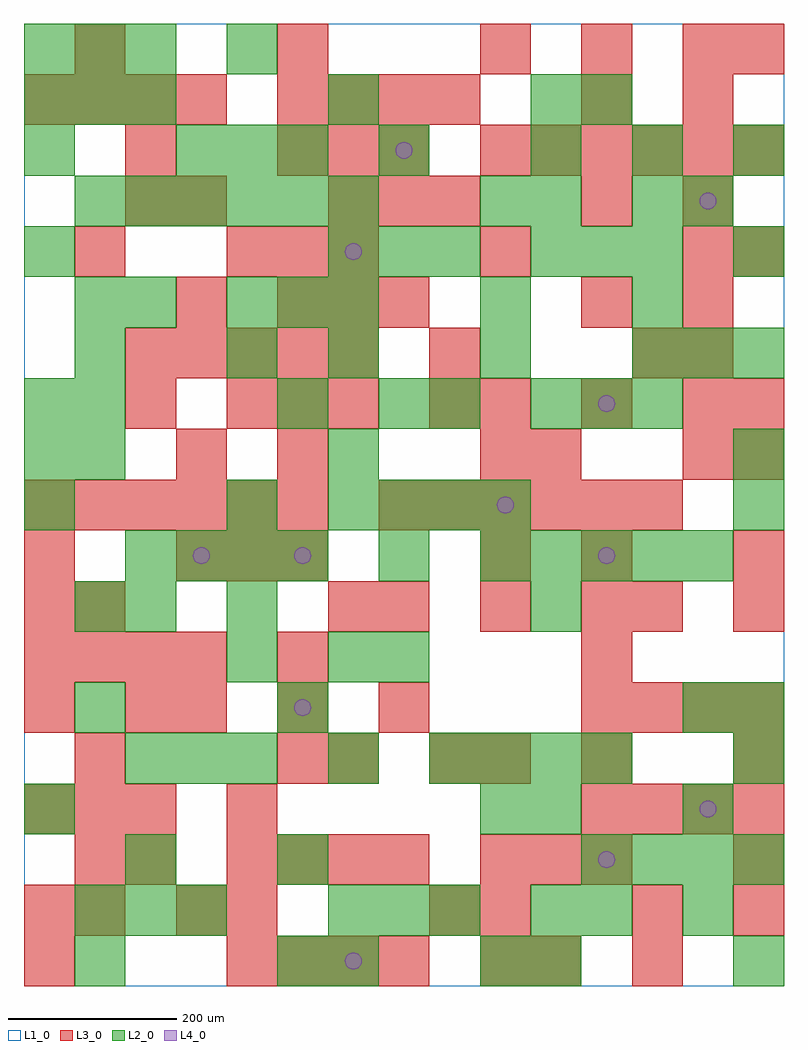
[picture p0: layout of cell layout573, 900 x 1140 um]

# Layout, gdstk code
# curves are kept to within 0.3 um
import gdstk
lib = gdstk.Library(unit=1e-6, precision=1e-09)
def R(c, l, rs):  # rectangles x0, y0, x1, y1
    for r in rs: c.add(gdstk.rectangle(r[:2], r[2:], *l))
def A(c, l, x, y, w, h, nx, ny, dx, dy):  # array of equal rectangles
    R(c, l, [(x+i*dx, y+j*dy, x+i*dx+w, y+j*dy+h) for i in range(nx) for j in range(ny)])
def P(c, l, *ps):  # polygons
    for p in ps: c.add(gdstk.Polygon(p, *l))
L1_0 = (1, 0)
L2_0 = (2, 0)
L3_0 = (3, 0)
L4_0 = (4, 0)

layout573 = lib.new_cell('layout573')
R(layout573, L1_0, [(0,0,900,1140)])
A(layout573, L2_0, 60, 60, 60, 60, 3, 1, 60, 0)
A(layout573, L2_0, 360, 60, 60, 60, 3, 2, 60, 780)
A(layout573, L2_0, 780, 60, 60, 60, 1, 3, 0, 120)
A(layout573, L2_0, 660, 120, 60, 60, 4, 1, 60, 0)
A(layout573, L2_0, 120, 240, 60, 60, 3, 1, 60, 0)
A(layout573, L2_0, 480, 240, 60, 60, 4, 1, 60, 0)
A(layout573, L2_0, 120, 480, 60, 60, 4, 1, 60, 0)
A(layout573, L2_0, 540, 480, 60, 60, 5, 1, 60, 0)
A(layout573, L2_0, 0, 540, 60, 60, 1, 3, 0, 60)
A(layout573, L2_0, 360, 540, 60, 60, 4, 1, 60, 0)
A(layout573, L2_0, 60, 600, 60, 60, 1, 4, 0, 60)
A(layout573, L2_0, 840, 600, 60, 60, 1, 3, 0, 120)
A(layout573, L2_0, 600, 660, 60, 60, 3, 2, 60, 180)
A(layout573, L2_0, 360, 720, 60, 60, 3, 1, 180, 0)
A(layout573, L2_0, 240, 780, 60, 60, 3, 1, 60, 0)
A(layout573, L2_0, 60, 900, 60, 60, 6, 1, 60, 0)
A(layout573, L2_0, 180, 960, 60, 60, 3, 1, 60, 0)
A(layout573, L2_0, 600, 960, 60, 60, 3, 1, 120, 0)
A(layout573, L2_0, 0, 1020, 60, 60, 3, 2, 60, 60)
R(layout573, L2_0, [(60,0,120,60), (300,0,360,60), (360,0,420,60), (540,0,600,60), (600,0,660,60), (840,0,900,60), (600,60,660,120), (660,60,720,120), (120,120,180,180), (300,120,360,180), (0,180,60,240), (540,180,600,240), (600,180,660,240), (360,240,420,300), (840,240,900,300), (60,300,120,360), (300,300,360,360), (840,300,900,360), (240,360,300,420), (360,360,420,420), (420,360,480,420), (60,420,120,480), (120,420,180,480), (240,420,300,480), (600,420,660,480), (420,480,480,540), (240,540,300,600), (840,540,900,600), (360,600,420,660), (300,660,360,720), (420,660,480,720), (480,660,540,720), (240,720,300,780), (780,720,840,780), (120,780,180,840), (540,780,600,840), (720,780,780,840), (0,840,60,900), (540,900,600,960), (600,900,660,960), (720,900,780,960), (780,900,840,960), (0,960,60,1020), (420,960,480,1020), (360,1020,420,1080), (600,1020,660,1080), (660,1020,720,1080), (240,1080,300,1140)])
A(layout573, L3_0, 240, 0, 60, 60, 4, 2, 60, 120)
A(layout573, L3_0, 540, 120, 60, 60, 3, 1, 60, 0)
A(layout573, L3_0, 0, 180, 60, 60, 3, 1, 60, 0)
A(layout573, L3_0, 660, 180, 60, 60, 4, 2, 60, 120)
A(layout573, L3_0, 660, 240, 60, 60, 1, 3, 0, 120)
A(layout573, L3_0, 180, 300, 60, 60, 3, 1, 120, 0)
A(layout573, L3_0, 0, 360, 60, 60, 4, 2, 60, 660)
A(layout573, L3_0, 420, 420, 60, 60, 3, 1, 120, 0)
A(layout573, L3_0, 180, 480, 60, 60, 3, 1, 60, 0)
A(layout573, L3_0, 0, 540, 60, 60, 6, 1, 60, 0)
A(layout573, L3_0, 420, 540, 60, 60, 6, 1, 60, 0)
A(layout573, L3_0, 240, 660, 60, 60, 3, 2, 60, 180)
A(layout573, L3_0, 540, 660, 60, 60, 3, 1, 120, 0)
A(layout573, L3_0, 120, 720, 60, 60, 5, 1, 60, 0)
A(layout573, L3_0, 780, 720, 60, 60, 1, 4, 0, 60)
A(layout573, L3_0, 300, 780, 60, 60, 3, 2, 60, 180)
A(layout573, L3_0, 660, 780, 60, 60, 1, 3, 0, 120)
A(layout573, L3_0, 360, 900, 60, 60, 3, 1, 60, 0)
A(layout573, L3_0, 540, 960, 60, 60, 6, 1, 60, 0)
A(layout573, L3_0, 300, 1020, 60, 60, 4, 1, 60, 0)
A(layout573, L3_0, 60, 1080, 60, 60, 3, 1, 240, 0)
R(layout573, L3_0, [(0,0,60,60), (540,0,600,60), (600,0,660,60), (720,0,780,60), (0,60,60,120), (60,60,120,120), (180,60,240,120), (240,60,300,120), (480,60,540,120), (540,60,600,120), (720,60,780,120), (840,60,900,120), (60,120,120,180), (120,120,180,180), (840,120,900,180), (240,180,300,240), (60,240,120,300), (300,240,360,300), (360,240,420,300), (480,240,540,300), (540,240,600,300), (840,240,900,300), (0,300,60,360), (120,300,180,360), (300,360,360,420), (0,420,60,480), (60,420,120,480), (360,420,420,480), (720,420,780,480), (840,420,900,480), (0,480,60,540), (540,480,600,540), (840,480,900,540), (180,600,240,660), (300,600,360,660), (540,600,600,660), (600,600,660,660), (780,600,840,660), (840,600,900,660), (120,660,180,720), (480,660,540,720), (840,660,900,720), (480,720,540,780), (720,720,780,780), (180,780,240,840), (60,840,120,900), (540,840,600,900), (840,840,900,900), (120,900,180,960), (180,900,240,960), (120,960,180,1020), (780,1020,840,1080), (660,1080,720,1140), (780,1080,840,1140), (840,1080,900,1140)])
P(layout573, L4_0, [(220,510),(219.239,513.827),(217.071,517.071),(213.827,519.239),(210,520),(206.173,519.239),(202.929,517.071),(200.761,513.827),(200,510),(200.761,506.173),(202.929,502.929),(206.173,500.761),(210,500),(213.827,500.761),(217.071,502.929),(219.239,506.173)],
  [(340,330),(339.239,333.827),(337.071,337.071),(333.827,339.239),(330,340),(326.173,339.239),(322.929,337.071),(320.761,333.827),(320,330),(320.761,326.173),(322.929,322.929),(326.173,320.761),(330,320),(333.827,320.761),(337.071,322.929),(339.239,326.173)],
  [(340,510),(339.239,513.827),(337.071,517.071),(333.827,519.239),(330,520),(326.173,519.239),(322.929,517.071),(320.761,513.827),(320,510),(320.761,506.173),(322.929,502.929),(326.173,500.761),(330,500),(333.827,500.761),(337.071,502.929),(339.239,506.173)],
  [(400,30),(399.239,33.827),(397.071,37.071),(393.827,39.239),(390,40),(386.173,39.239),(382.929,37.071),(380.761,33.827),(380,30),(380.761,26.173),(382.929,22.929),(386.173,20.761),(390,20),(393.827,20.761),(397.071,22.929),(399.239,26.173)],
  [(400,870),(399.239,873.827),(397.071,877.071),(393.827,879.239),(390,880),(386.173,879.239),(382.929,877.071),(380.761,873.827),(380,870),(380.761,866.173),(382.929,862.929),(386.173,860.761),(390,860),(393.827,860.761),(397.071,862.929),(399.239,866.173)],
  [(460,990),(459.239,993.827),(457.071,997.071),(453.827,999.239),(450,1000),(446.173,999.239),(442.929,997.071),(440.761,993.827),(440,990),(440.761,986.173),(442.929,982.929),(446.173,980.761),(450,980),(453.827,980.761),(457.071,982.929),(459.239,986.173)],
  [(580,570),(579.239,573.827),(577.071,577.071),(573.827,579.239),(570,580),(566.173,579.239),(562.929,577.071),(560.761,573.827),(560,570),(560.761,566.173),(562.929,562.929),(566.173,560.761),(570,560),(573.827,560.761),(577.071,562.929),(579.239,566.173)],
  [(700,150),(699.239,153.827),(697.071,157.071),(693.827,159.239),(690,160),(686.173,159.239),(682.929,157.071),(680.761,153.827),(680,150),(680.761,146.173),(682.929,142.929),(686.173,140.761),(690,140),(693.827,140.761),(697.071,142.929),(699.239,146.173)],
  [(700,510),(699.239,513.827),(697.071,517.071),(693.827,519.239),(690,520),(686.173,519.239),(682.929,517.071),(680.761,513.827),(680,510),(680.761,506.173),(682.929,502.929),(686.173,500.761),(690,500),(693.827,500.761),(697.071,502.929),(699.239,506.173)],
  [(700,690),(699.239,693.827),(697.071,697.071),(693.827,699.239),(690,700),(686.173,699.239),(682.929,697.071),(680.761,693.827),(680,690),(680.761,686.173),(682.929,682.929),(686.173,680.761),(690,680),(693.827,680.761),(697.071,682.929),(699.239,686.173)],
  [(820,210),(819.239,213.827),(817.071,217.071),(813.827,219.239),(810,220),(806.173,219.239),(802.929,217.071),(800.761,213.827),(800,210),(800.761,206.173),(802.929,202.929),(806.173,200.761),(810,200),(813.827,200.761),(817.071,202.929),(819.239,206.173)],
  [(820,930),(819.239,933.827),(817.071,937.071),(813.827,939.239),(810,940),(806.173,939.239),(802.929,937.071),(800.761,933.827),(800,930),(800.761,926.173),(802.929,922.929),(806.173,920.761),(810,920),(813.827,920.761),(817.071,922.929),(819.239,926.173)])

lib.write_gds('layout573.gds')
